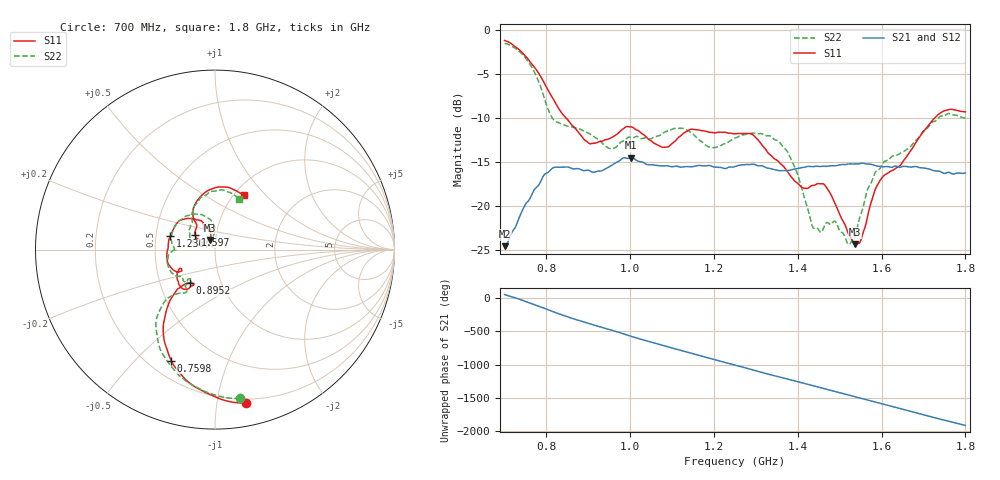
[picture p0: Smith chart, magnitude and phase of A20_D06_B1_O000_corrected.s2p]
! Created with skrf 1.9.0 (http://scikit-rf.org).
# Hz S RI R 50.0
!freq ReS11 ImS11 ReS21 ImS21 ReS12 ImS12 ReS22 ImS22
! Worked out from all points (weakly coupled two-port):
!   1601 points, 700 MHz to 1.8 GHz, reference 50 ohm
!   highest |S21| = -14.51 dB at 1.002 GHz (marker M1); lowest = -24.6 dB at 700.7 MHz (marker M2)
!   lowest |S11| = -24.4 dB at 1.537 GHz (marker M3), VSWR 1.13, Z = 47 + j5.05 ohm
!   |S11| at or under -10 dB: 846.9 MHz to 1.727 GHz (879.7 MHz wide, 68.4 % of centre)
!   |S22| runs from -24.4 to -1.5 dB; largest |S21 - S12| = 0.0034
!   S11 on the Smith chart (normalised r, x): 700 MHz: 0.17, -1.21; 759.8 MHz: 0.29, -0.64; 895.2 MHz: 0.71, -0.28; 1.236 GHz: 0.60, +0.09; 1.597 GHz: 0.79, +0.13; 1.8 GHz: 1.11, +0.76
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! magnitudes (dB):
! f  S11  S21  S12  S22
! 700 MHz  -1.2  -24.6  -24.3  -1.5
! 700.7 MHz  -1.2  -24.6  -24.3  -1.5
! 759.8 MHz  -3.5  -19.2  -19.1  -3.8
! 816.2 MHz  -7.9  -15.6  -15.7  -10.2
! 883.6 MHz  -12.0  -15.9  -15.8  -11.3
! 895.2 MHz  -12.6  -15.9  -16.0  -11.6
! 953 MHz  -12.3  -15.4  -15.4  -13.5
! 1.002 GHz  -11.0  -14.5  -14.6  -12.2
! 1.067 GHz  -13.1  -15.4  -15.4  -12.0
! 1.236 GHz  -11.7  -15.6  -15.7  -12.7
! 1.25 GHz  -11.8  -15.5  -15.4  -12.3
! 1.357 GHz  -15.1  -16.0  -15.9  -12.8
! 1.395 GHz  -17.2  -15.8  -15.8  -15.9
! 1.434 GHz  -17.7  -15.5  -15.5  -22.1
! 1.467 GHz  -17.8  -15.5  -15.5  -22.0
! 1.522 GHz  -23.2  -15.2  -15.2  -24.4
! 1.537 GHz  -24.4  -15.2  -15.2  -23.4
! 1.567 GHz  -21.1  -15.2  -15.2  -18.1
! 1.597 GHz  -17.1  -15.5  -15.5  -15.7
! 1.617 GHz  -16.2  -15.5  -15.5  -14.7
! 1.736 GHz  -9.6  -16.0  -16.1  -10.0
! 1.8 GHz  -9.3  -16.2  -16.2  -10.0
